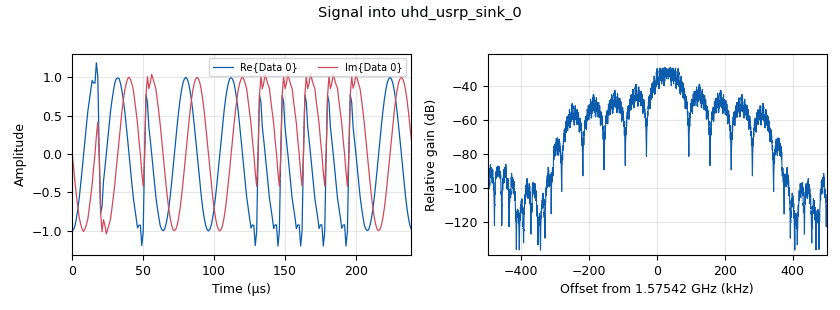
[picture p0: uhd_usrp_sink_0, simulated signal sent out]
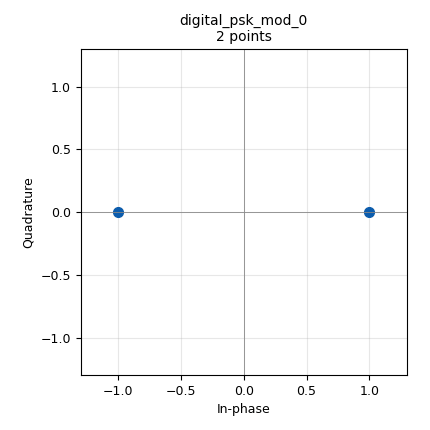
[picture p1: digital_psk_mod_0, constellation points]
options:
  parameters:
    author: sarah
    generate_options: qt_gui
    id: transmitter_setup
    output_language: python
    title: Transmitter setup
  states: {}

blocks:
- name: samp_rate
  id: variable
  parameters:
    value: '32000'
  states: {}
- name: analog_random_source_x_0
  id: analog_random_source_x
  parameters:
    max: '2'
    min: '0'
    num_samps: '1000'
    repeat: 'True'
    type: byte
  states: {}
- name: analog_sig_source_x_0
  id: analog_sig_source_x
  parameters:
    amp: '1'
    freq: '1000'
    offset: '0'
    phase: '0'
    samp_rate: samp_rate
    type: complex
    waveform: analog.GR_COS_WAVE
  states: {}
- name: blocks_multiply_xx_0
  id: blocks_multiply_xx
  parameters:
    type: complex
  states: {}
- name: digital_psk_mod_0
  id: digital_psk_mod
  parameters:
    constellation_points: '2'
    differential: 'True'
    excess_bw: '0.35'
    mod_code: '"none"'
    samples_per_symbol: '2'
  states: {}
- name: qtgui_time_sink_x_0
  id: qtgui_time_sink_x
  parameters:
    size: '1024'
    srate: samp_rate
    type: complex
  states: {state: disabled}
- name: uhd_usrp_sink_0
  id: uhd_usrp_sink
  parameters:
    ant0: '"TX/RX"'
    bw0: 200e3
    center_freq0: 1575.42e6
    gain0: '80'
    samp_rate: 1e6
    sync: sync
    type: fc32
  states: {}

connections:
- [analog_random_source_x_0, '0', digital_psk_mod_0, '0']
- [analog_sig_source_x_0, '0', blocks_multiply_xx_0, '1']
- [blocks_multiply_xx_0, '0', qtgui_time_sink_x_0, '0']
- [blocks_multiply_xx_0, '0', uhd_usrp_sink_0, '0']
- [digital_psk_mod_0, '0', blocks_multiply_xx_0, '0']

metadata:
  file_format: 1
